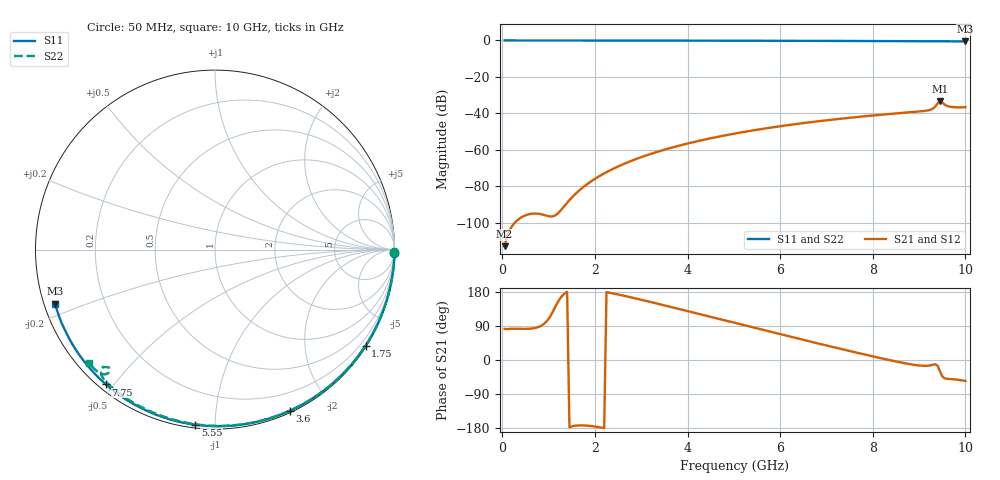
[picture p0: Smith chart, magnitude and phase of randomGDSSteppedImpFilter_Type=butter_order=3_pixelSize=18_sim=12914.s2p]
! freq	dB(S11)	phase(S11)	dB(S12)	phase(S12)
!  dB(S21)	phase(S21)	dB(S22)	phase(S22)
!S-par simulation data
#  GHz  S  DB  R 50
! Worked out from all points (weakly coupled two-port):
!   200 points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, 50 MHz to 10 GHz, reference 50 ohm
!   highest |S21| = -33.32 dB at 9.45 GHz (marker M1); lowest = -112.9 dB at 50 MHz (marker M2)
!   lowest |S11| = -0.5 dB at 10 GHz (marker M3), VSWR 32.68, Z = 1.57 - j8.19 ohm
!   |S11| at or under -10 dB: nowhere
!   |S22| runs from -1.1 to 0.0 dB; largest |S21 - S12| = 0
!   S11 on the Smith chart (normalised r, x): 50 MHz: open; 1.75 GHz: 0.03, -3.42; 3.6 GHz: 0.02, -1.57; 5.55 GHz: 0.02, -0.89; 7.75 GHz: 0.02, -0.48; 10 GHz: 0.03, -0.16
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0.05  -0.00 -0.9  -112.91 81.9  -112.91 81.9  -0.00 -0.8
0.85  -0.02 -16.0  -95.41 91.1  -95.41 91.1  -0.02 -13.6
1.75  -0.04 -32.6  -80.47 -172.6  -80.47 -172.6  -0.04 -27.7
2.15  -0.05 -39.8  -73.68 -178.6  -73.68 -178.6  -0.04 -33.9
2.5  -0.06 -46.0  -69.17 172.9  -69.17 172.9  -0.05 -39.2
2.9  -0.07 -53.0  -64.98 161.9  -64.98 161.9  -0.06 -45.3
3.4  -0.08 -61.6  -60.72 147.2  -60.72 147.2  -0.07 -52.7
3.6  -0.09 -65.0  -59.24 141.2  -59.24 141.2  -0.07 -55.6
4.3  -0.11 -76.6  -54.79 119.8  -54.79 119.8  -0.09 -65.7
5.05  -0.14 -88.6  -50.96 96.9  -50.96 96.9  -0.12 -76.2
5.55  -0.16 -96.4  -48.80 81.7  -48.80 81.7  -0.14 -83.0
6.7  -0.22 -113.7  -44.72 47.1  -44.72 47.1  -0.19 -98.2
7.75  -0.30 -128.9  -41.79 16.6  -41.79 16.6  -0.26 -111.5
8.35  -0.35 -137.6  -40.39 0.0  -40.39 0.0  -0.30 -119.0
9.2  -0.44 -149.7  -38.34 -15.0  -38.34 -15.0  -0.42 -130.3
9.3  -0.45 -151.2  -37.40 -12.4  -37.40 -12.4  -0.51 -132.2
9.35  -0.46 -151.9  -36.30 -11.2  -36.30 -11.2  -0.63 -133.2
9.4  -0.46 -152.6  -34.52 -14.9  -34.52 -14.9  -0.88 -133.7
9.45  -0.46 -153.3  -33.32 -29.6  -33.32 -29.6  -1.08 -132.0
9.55  -0.47 -154.8  -35.18 -48.1  -35.18 -48.1  -0.66 -131.4
9.65  -0.49 -156.3  -36.28 -50.0  -36.28 -50.0  -0.52 -133.2
10  -0.53 -161.4  -36.65 -55.3  -36.65 -55.3  -0.49 -138.2
